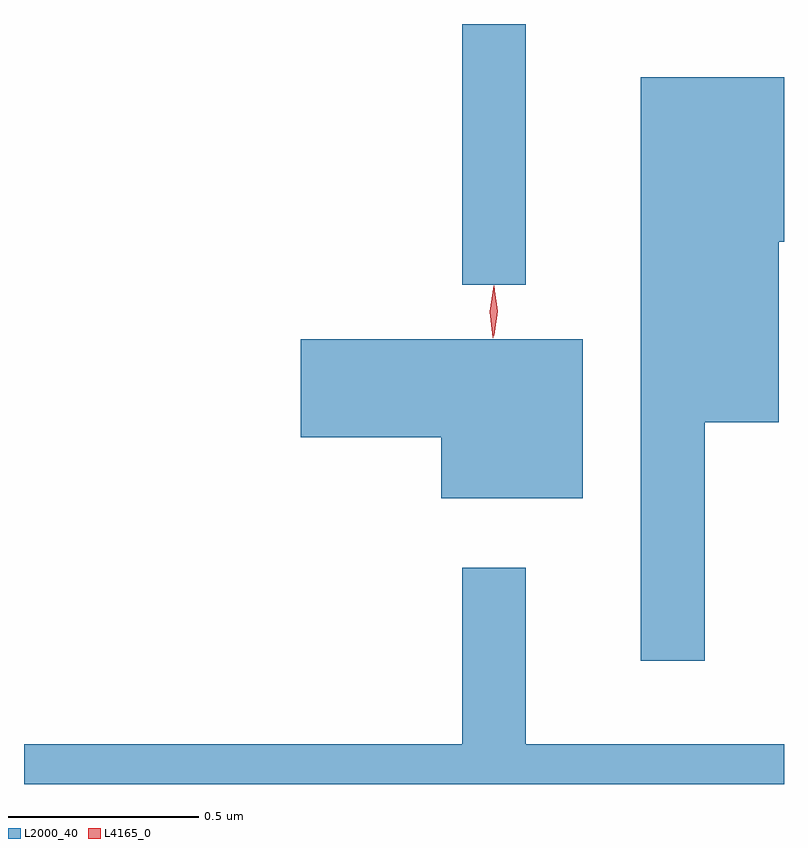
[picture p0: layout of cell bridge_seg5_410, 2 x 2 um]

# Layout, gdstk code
import gdstk
lib = gdstk.Library(unit=1e-6, precision=1e-09)
def R(c, l, rs):  # rectangles x0, y0, x1, y1
    for r in rs: c.add(gdstk.rectangle(r[:2], r[2:], *l))
def P(c, l, *ps):  # polygons
    for p in ps: c.add(gdstk.Polygon(p, *l))
L2000_40 = (2000, 40)
L4165_0 = (4165, 0)

bridge_seg5_410 = lib.new_cell('bridge_seg5_410')
R(bridge_seg5_410, L2000_40, [(437.721,1478.253,437.889,1478.939)])
P(bridge_seg5_410, L2000_40, [(438.359,1477.891),(438.554,1477.891),(438.554,1478.366),(438.568,1478.366),(438.568,1478.799),(438.191,1478.799),(438.191,1477.263),(438.359,1477.263)],
  [(438.039,1478.109),(437.296,1478.109),(437.296,1477.851),(437.666,1477.851),(437.666,1477.691),(438.039,1477.691)],
  [(438.568,1477.044),(437.889,1477.044),(437.889,1477.508),(437.721,1477.508),(437.721,1477.044),(436.568,1477.044),(436.568,1476.939),(438.568,1476.939)])
P(bridge_seg5_410, L4165_0, [(437.802,1478.114),(437.794,1478.182),(437.804,1478.25),(437.805,1478.25),(437.805,1478.25),(437.814,1478.182),(437.803,1478.114),(437.803,1478.114)],
  [(437.804,1478.12),(437.795,1478.183),(437.804,1478.246),(437.805,1478.247),(437.805,1478.246),(437.815,1478.183),(437.805,1478.12),(437.805,1478.12)])

lib.write_gds('bridge_seg5_410.gds')
